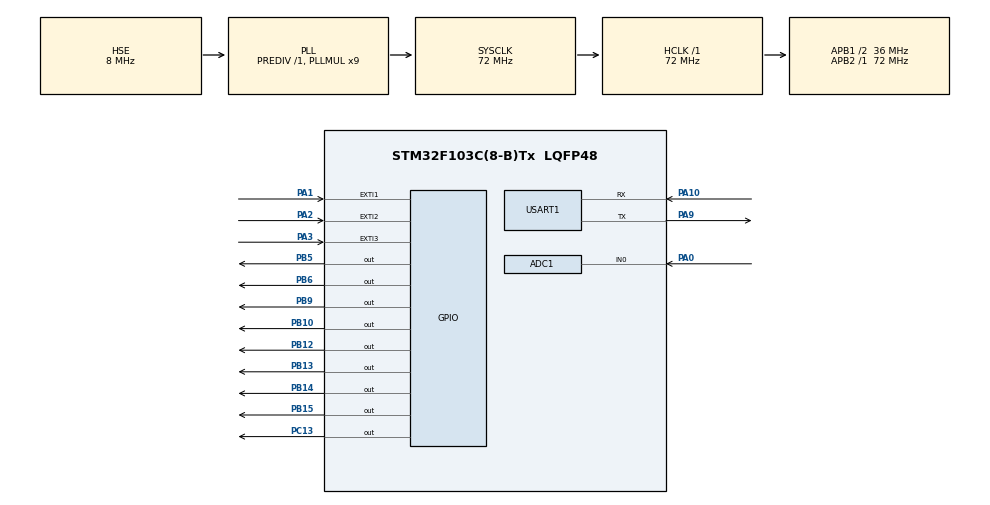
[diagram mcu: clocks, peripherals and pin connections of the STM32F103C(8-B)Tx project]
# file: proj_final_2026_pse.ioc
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ADC1.Channel-0\#ChannelRegularConversion=ADC_CHANNEL_0
ADC1.NbrOfConversionFlag=1
ADC1.Rank-0\#ChannelRegularConversion=1
ADC1.SamplingTime-0\#ChannelRegularConversion=ADC_SAMPLETIME_1CYCLE_5
ADC1.master=1
Dma.Request0=USART1_RX
Dma.Request1=USART1_TX
Dma.USART1_RX.0.Direction=DMA_PERIPH_TO_MEMORY
Dma.USART1_RX.0.Instance=DMA1_Channel5
Dma.USART1_RX.0.MemDataAlignment=DMA_MDATAALIGN_BYTE
Dma.USART1_RX.0.MemInc=DMA_MINC_ENABLE
Dma.USART1_RX.0.Mode=DMA_NORMAL
Dma.USART1_RX.0.PeriphDataAlignment=DMA_PDATAALIGN_BYTE
Dma.USART1_RX.0.PeriphInc=DMA_PINC_DISABLE
Dma.USART1_RX.0.Priority=DMA_PRIORITY_LOW
Dma.USART1_TX.1.Direction=DMA_MEMORY_TO_PERIPH
Dma.USART1_TX.1.Instance=DMA1_Channel4
Dma.USART1_TX.1.MemDataAlignment=DMA_MDATAALIGN_BYTE
Dma.USART1_TX.1.MemInc=DMA_MINC_ENABLE
Dma.USART1_TX.1.Mode=DMA_NORMAL
Dma.USART1_TX.1.PeriphDataAlignment=DMA_PDATAALIGN_BYTE
Dma.USART1_TX.1.PeriphInc=DMA_PINC_DISABLE
Dma.USART1_TX.1.Priority=DMA_PRIORITY_LOW
FREERTOS.Events01=ef_tudo,Dynamic,NULL
FREERTOS.Queues01=q_uart_msgs,15,uint8_t,0,Dynamic,NULL,NULL
FREERTOS.Tasks01=defaultTask,24,64,StartDefaultTask,Default,NULL,Dynamic,NULL,NULL;task_interface,8,256,f_task_interface,Default,NULL,Dynamic,NULL,NULL;task_ping,8,128,f_task_ping,Default,NULL,Dynamic,NULL,NULL;task_send_uart,8,128,f_task_send_uart,Default,NULL,Dynamic,NULL,NULL
FREERTOS.configMINIMAL_STACK_SIZE=64
FREERTOS.configTOTAL_HEAP_SIZE=8192
FREERTOS.configUSE_NEWLIB_REENTRANT=1
FREERTOS.configUSE_TICK_HOOK=1
Mcu.Family=STM32F1
Mcu.Name=STM32F103C(8-B)Tx
Mcu.Package=LQFP48
NVIC.ADC1_2_IRQn=true\:5\:0\:false\:true\:true\:4\:true\:true\:true\:true
NVIC.DMA1_Channel4_IRQn=true\:5\:0\:false\:false\:true\:true\:false\:true\:true
NVIC.DMA1_Channel5_IRQn=true\:5\:0\:false\:false\:true\:true\:false\:true\:true
NVIC.EXTI1_IRQn=true\:5\:0\:false\:true\:true\:3\:false\:true\:true\:true
NVIC.EXTI2_IRQn=true\:5\:0\:false\:true\:true\:2\:false\:true\:true\:true
NVIC.EXTI3_IRQn=true\:5\:0\:false\:true\:true\:1\:false\:true\:true\:true
NVIC.PriorityGroup=NVIC_PRIORITYGROUP_4
NVIC.TIM4_IRQn=true\:15\:0\:false\:false\:true\:false\:false\:true\:true
NVIC.TimeBase=TIM4_IRQn
NVIC.TimeBaseIP=TIM4
NVIC.USART1_IRQn=true\:5\:0\:false\:true\:true\:5\:true\:true\:true\:true
PA0-WKUP.Signal=ADCx_IN0
PA1.GPIO_ModeDefaultEXTI=GPIO_MODE_IT_FALLING
PA1.Signal=GPXTI1
PA10.Mode=Asynchronous
PA10.Signal=USART1_RX
PA13.Mode=Serial_Wire
PA13.Signal=SYS_JTMS-SWDIO
PA14.Mode=Serial_Wire
PA14.Signal=SYS_JTCK-SWCLK
PA2.GPIO_ModeDefaultEXTI=GPIO_MODE_IT_FALLING
PA2.Signal=GPXTI2
PA3.GPIO_ModeDefaultEXTI=GPIO_MODE_IT_FALLING
PA3.Signal=GPXTI3
PA9.Mode=Asynchronous
PA9.Signal=USART1_TX
PB10.Signal=GPIO_Output
PB12.PinState=GPIO_PIN_SET
PB12.Signal=GPIO_Output
PB13.PinState=GPIO_PIN_SET
PB13.Signal=GPIO_Output
PB14.PinState=GPIO_PIN_SET
PB14.Signal=GPIO_Output
PB15.PinState=GPIO_PIN_SET
PB15.Signal=GPIO_Output
PB5.PinState=GPIO_PIN_SET
PB5.Signal=GPIO_Output
PB6.Signal=GPIO_Output
PB9.Signal=GPIO_Output
PC13-TAMPER-RTC.Signal=GPIO_Output
PD0-OSC_IN.Mode=HSE-External-Oscillator
PD0-OSC_IN.Signal=RCC_OSC_IN
PD1-OSC_OUT.Mode=HSE-External-Oscillator
PD1-OSC_OUT.Signal=RCC_OSC_OUT
ProjectManager.HeapSize=0x200
ProjectManager.StackSize=0x400
ProjectManager.TargetToolchain=CMake
RCC.ADCPresc=RCC_ADCPCLK2_DIV6
RCC.AHBFreq_Value=72000000
RCC.APB1CLKDivider=RCC_HCLK_DIV2
RCC.APB1Freq_Value=36000000
RCC.APB1TimFreq_Value=72000000
RCC.APB2Freq_Value=72000000
RCC.APB2TimFreq_Value=72000000
RCC.HCLKFreq_Value=72000000
RCC.PLLMUL=RCC_PLL_MUL9
RCC.PLLSourceVirtual=RCC_PLLSOURCE_HSE
RCC.SYSCLKFreq_VALUE=72000000
RCC.SYSCLKSource=RCC_SYSCLKSOURCE_PLLCLK
RCC.USBFreq_Value=72000000
SH.ADCx_IN0.0=ADC1_IN0,IN0
USART1.VirtualMode=VM_ASYNC
VP_FREERTOS_VS_CMSIS_V2.Mode=CMSIS_V2
VP_SYS_VS_tim4.Mode=TIM4
board=custom

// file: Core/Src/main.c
/* USER CODE BEGIN Header */
/**
 ******************************************************************************
 * @file           : main.c
 * @brief          : Main program body
 ******************************************************************************
 * @attention
 *
 * Copyright (c) 2024 STMicroelectronics.
 * All rights reserved.
 *
 * This software is licensed under terms that can be found in the LICENSE file
 * in the root directory of this software component.
 * If no LICENSE file comes with this software, it is provided AS-IS.
 *
 * notas: J Ranhel - rev 2026.07
 * PA5 =1 na entrada do callBack do RxCpltCallback(), =0 na saída
 * PB7 =1 na entrada do PeriodElapsedCallback(), =0 ma saída
 *
 *
 ******************************************************************************
 */
/* USER CODE END Header */
#include "main.h"

#include "cmsis_os.h"

/* USER CODE BEGIN Includes */
// --- veja includes, macro, e constantes no main.h ---
/* USER CODE END Includes */

/* USER CODE BEGIN PD */
// ---- ver vários #defines (kts, delays, etc) no main.h ----
/* USER CODE END PD */

/* USER CODE BEGIN PM */
//  --- ver macros definidas no main.h ---
/* USER CODE END PM */

ADC_HandleTypeDef hadc1;

UART_HandleTypeDef huart1;
DMA_HandleTypeDef hdma_usart1_rx;
DMA_HandleTypeDef hdma_usart1_tx;

/* Definitions for defaultTask */
osThreadId_t defaultTaskHandle;
const osThreadAttr_t defaultTask_attributes = {
    .name = "defaultTask",
    .stack_size = 64 * 4,
    .priority = (osPriority_t)osPriorityNormal,
};
/* Definitions for task_interface */
osThreadId_t task_interfaceHandle;
const osThreadAttr_t task_interface_attributes = {
    .name = "task_interface",
    .stack_size = 256 * 4,
    .priority = (osPriority_t)osPriorityLow,
};
/* Definitions for task_ping */
osThreadId_t task_pingHandle;
const osThreadAttr_t task_ping_attributes = {
    .name = "task_ping",
    .stack_size = 128 * 4,
    .priority = (osPriority_t)osPriorityLow,
};
/* Definitions for task_send_uart */
osThreadId_t task_send_uartHandle;
const osThreadAttr_t task_send_uart_attributes = {
    .name = "task_send_uart",
    .stack_size = 128 * 4,
    .priority = (osPriority_t)osPriorityLow,
};
/* Definitions for q_uart_msgs */
osMessageQueueId_t q_uart_msgsHandle;
const osMessageQueueAttr_t q_uart_msgs_attributes = {.name = "q_uart_msgs"};
/* Definitions for ef_tudo */
osEventFlagsId_t ef_tudoHandle;
const osEventFlagsAttr_t ef_tudo_attributes = {.name = "ef_tudo"};
/* USER CODE BEGIN PV */
// variáveis que todos vamos usar: buffers de entrada/saída na comunicação
// buffers para entrada e saida de dados via USART
uint8_t BufOUT[] = {'0', '0', '0', '0', '0'};  // inicia buffer OUT com cars "0"
uint8_t BufIN[] = {'0', '0', '0', '0', '0'};   // inicia buffer IN com cars "0"
int8_t DspHex[] = {0x10, 0x10, 0x10, 0x10};    // vetor val display (se=16 => off)
size_t sizeBuffs = sizeof(BufOUT);             // tamanho dos buffers - usa geral
// qual dig liga pto? (ex: 0xA=>1010=> 1000=MSD + 0010=DG2)
uint8_t ptoDec = 0;

// os vetores abaixo tem idx[0] = digito menos significativo no display
int8_t Crono[] = {0, 0, 0, 0};     // vetor com vals decimais do cronometro
int8_t ValAdc[] = {0, 0, 0, 0};    // vetor com vals decimais do ADC
int8_t ExCrono[] = {0, 0, 0, 0};   // vetor com vals decimais do cronometro
int8_t ExValAdc[] = {0, 0, 0, 0};  // vetor com vals decimais do ADC
/* USER CODE END PV */

void SystemClock_Config(void);
static void MX_GPIO_Init(void);
static void MX_DMA_Init(void);
static void MX_ADC1_Init(void);
static void MX_USART1_UART_Init(void);
void StartDefaultTask(void* argument);
void f_task_interface(void* argument);
void f_task_ping(void* argument);
void f_task_send_uart(void* argument);

static void MX_NVIC_Init(void);

int main(void) {

    /* MCU Configuration--------------------------------------------------------*/

    /* Reset of all peripherals, Initializes the Flash interface and the Systick. */
    HAL_Init();

    /* Configure the system clock */
    SystemClock_Config();

    /* Initialize all configured peripherals */
    MX_GPIO_Init();
    MX_DMA_Init();
    MX_ADC1_Init();
    MX_USART1_UART_Init();

    /* Initialize interrupts */
    MX_NVIC_Init();

    /* Init scheduler */
    osKernelInitialize();

    /* Create the queue(s) */
    /* creation of q_uart_msgs */
    q_uart_msgsHandle = osMessageQueueNew(15, sizeof(uint8_t), &q_uart_msgs_attributes);

    /* Create the thread(s) */
    /* creation of defaultTask */
    defaultTaskHandle = osThreadNew(StartDefaultTask, NULL, &defaultTask_attributes);

    /* creation of task_interface */
    task_interfaceHandle = osThreadNew(f_task_interface, NULL, &task_interface_attributes);

    /* creation of task_ping */
    task_pingHandle = osThreadNew(f_task_ping, NULL, &task_ping_attributes);

    /* creation of task_send_uart */
    task_send_uartHandle = osThreadNew(f_task_send_uart, NULL, &task_send_uart_attributes);

    /* Create the event(s) */
    /* creation of ef_tudo */
    ef_tudoHandle = osEventFlagsNew(&ef_tudo_attributes);

    /* USER CODE BEGIN RTOS_EVENTS */
    // Iniciar fl_teste e fl_ping como 1 e o resto como 0
    osEventFlagsSet(ef_tudoHandle, FLAG_MASK_TESTE | FLAG_MASK_PING);
    HAL_UART_Receive_DMA(&huart1, BufIN, sizeBuffs);
    /* USER CODE END RTOS_EVENTS */

    /* Start scheduler */
    osKernelStart();

    /* We should never get here as control is now taken by the scheduler */

    /* Infinite loop */
    while (1) {

    }
}

void SystemClock_Config(void) {
    RCC_OscInitTypeDef RCC_OscInitStruct = {0};
    RCC_ClkInitTypeDef RCC_ClkInitStruct = {0};
    RCC_PeriphCLKInitTypeDef PeriphClkInit = {0};

    /** Initializes the RCC Oscillators according to the specified parameters
     * in the RCC_OscInitTypeDef structure.
     */
    RCC_OscInitStruct.OscillatorType = RCC_OSCILLATORTYPE_HSE;
    RCC_OscInitStruct.HSEState = RCC_HSE_ON;
    RCC_OscInitStruct.HSEPredivValue = RCC_HSE_PREDIV_DIV1;
    RCC_OscInitStruct.HSIState = RCC_HSI_ON;
    RCC_OscInitStruct.PLL.PLLState = RCC_PLL_ON;
    RCC_OscInitStruct.PLL.PLLSource = RCC_PLLSOURCE_HSE;
    RCC_OscInitStruct.PLL.PLLMUL = RCC_PLL_MUL9;
    if (HAL_RCC_OscConfig(&RCC_OscInitStruct) != HAL_OK) {
        Error_Handler();
    }

    /** Initializes the CPU, AHB and APB buses clocks
     */
    RCC_ClkInitStruct.ClockType =
        RCC_CLOCKTYPE_HCLK | RCC_CLOCKTYPE_SYSCLK | RCC_CLOCKTYPE_PCLK1 | RCC_CLOCKTYPE_PCLK2;
    RCC_ClkInitStruct.SYSCLKSource = RCC_SYSCLKSOURCE_PLLCLK;
    RCC_ClkInitStruct.AHBCLKDivider = RCC_SYSCLK_DIV1;
    RCC_ClkInitStruct.APB1CLKDivider = RCC_HCLK_DIV2;
    RCC_ClkInitStruct.APB2CLKDivider = RCC_HCLK_DIV1;

    if (HAL_RCC_ClockConfig(&RCC_ClkInitStruct, FLASH_LATENCY_2) != HAL_OK) {
        Error_Handler();
    }
    PeriphClkInit.PeriphClockSelection = RCC_PERIPHCLK_ADC;
    PeriphClkInit.AdcClockSelection = RCC_ADCPCLK2_DIV6;
    if (HAL_RCCEx_PeriphCLKConfig(&PeriphClkInit) != HAL_OK) {
        Error_Handler();
    }
}

/**
 * @brief NVIC Configuration.
 * @retval None
 */
static void MX_NVIC_Init(void) {
    /* EXTI3_IRQn interrupt configuration */
    HAL_NVIC_SetPriority(EXTI3_IRQn, 5, 0);
    HAL_NVIC_EnableIRQ(EXTI3_IRQn);
    /* EXTI2_IRQn interrupt configuration */
    HAL_NVIC_SetPriority(EXTI2_IRQn, 5, 0);
    HAL_NVIC_EnableIRQ(EXTI2_IRQn);
    /* EXTI1_IRQn interrupt configuration */
    HAL_NVIC_SetPriority(EXTI1_IRQn, 5, 0);
    HAL_NVIC_EnableIRQ(EXTI1_IRQn);
    /* ADC1_2_IRQn interrupt configuration */
    HAL_NVIC_SetPriority(ADC1_2_IRQn, 5, 0);
    HAL_NVIC_EnableIRQ(ADC1_2_IRQn);
    /* USART1_IRQn interrupt configuration */
    HAL_NVIC_SetPriority(USART1_IRQn, 5, 0);
    HAL_NVIC_EnableIRQ(USART1_IRQn);
}

static void MX_ADC1_Init(void) {

    ADC_ChannelConfTypeDef sConfig = {0};

    /** Common config
     */
    hadc1.Instance = ADC1;
    hadc1.Init.ScanConvMode = ADC_SCAN_DISABLE;
    hadc1.Init.ContinuousConvMode = DISABLE;
    hadc1.Init.DiscontinuousConvMode = DISABLE;
    hadc1.Init.ExternalTrigConv = ADC_SOFTWARE_START;
    hadc1.Init.DataAlign = ADC_DATAALIGN_RIGHT;
    hadc1.Init.NbrOfConversion = 1;
    if (HAL_ADC_Init(&hadc1) != HAL_OK) {
        Error_Handler();
    }

    /** Configure Regular Channel
     */
    sConfig.Channel = ADC_CHANNEL_0;
    sConfig.Rank = ADC_REGULAR_RANK_1;
    sConfig.SamplingTime = ADC_SAMPLETIME_1CYCLE_5;
    if (HAL_ADC_ConfigChannel(&hadc1, &sConfig) != HAL_OK) {
        Error_Handler();
    }
}

static void MX_USART1_UART_Init(void) {

    huart1.Instance = USART1;
    huart1.Init.BaudRate = 115200;
    huart1.Init.WordLength = UART_WORDLENGTH_8B;
    huart1.Init.StopBits = UART_STOPBITS_1;
    huart1.Init.Parity = UART_PARITY_NONE;
    huart1.Init.Mode = UART_MODE_TX_RX;
    huart1.Init.HwFlowCtl = UART_HWCONTROL_NONE;
    huart1.Init.OverSampling = UART_OVERSAMPLING_16;
    if (HAL_UART_Init(&huart1) != HAL_OK) {
        Error_Handler();
    }
}

static void MX_DMA_Init(void) {
    /* DMA controller clock enable */
    __HAL_RCC_DMA1_CLK_ENABLE();

    /* DMA interrupt init */
    /* DMA1_Channel4_IRQn interrupt configuration */
    HAL_NVIC_SetPriority(DMA1_Channel4_IRQn, 5, 0);
    HAL_NVIC_EnableIRQ(DMA1_Channel4_IRQn);
    /* DMA1_Channel5_IRQn interrupt configuration */
    HAL_NVIC_SetPriority(DMA1_Channel5_IRQn, 5, 0);
    HAL_NVIC_EnableIRQ(DMA1_Channel5_IRQn);
}

static void MX_GPIO_Init(void) {
    GPIO_InitTypeDef GPIO_InitStruct = {0};

    /* GPIO Ports Clock Enable */
    __HAL_RCC_GPIOC_CLK_ENABLE();
    __HAL_RCC_GPIOD_CLK_ENABLE();
    __HAL_RCC_GPIOA_CLK_ENABLE();
    __HAL_RCC_GPIOB_CLK_ENABLE();

    /*Configure GPIO pin Output Level */
    HAL_GPIO_WritePin(GPIOC, GPIO_PIN_13, GPIO_PIN_RESET);

    /*Configure GPIO pin Output Level */
    HAL_GPIO_WritePin(GPIOB, GPIO_PIN_10 | GPIO_PIN_6 | GPIO_PIN_9, GPIO_PIN_RESET);

    /*Configure GPIO pin Output Level */
    HAL_GPIO_WritePin(GPIOB, GPIO_PIN_12 | GPIO_PIN_13 | GPIO_PIN_14 | GPIO_PIN_15 | GPIO_PIN_5,
                      GPIO_PIN_SET);

    /*Configure GPIO pin : PC13 */
    GPIO_InitStruct.Pin = GPIO_PIN_13;
    GPIO_InitStruct.Mode = GPIO_MODE_OUTPUT_PP;
    GPIO_InitStruct.Pull = GPIO_NOPULL;
    GPIO_InitStruct.Speed = GPIO_SPEED_FREQ_LOW;
    HAL_GPIO_Init(GPIOC, &GPIO_InitStruct);

    /*Configure GPIO pins : PA1 PA2 PA3 */
    GPIO_InitStruct.Pin = GPIO_PIN_1 | GPIO_PIN_2 | GPIO_PIN_3;
    GPIO_InitStruct.Mode = GPIO_MODE_IT_FALLING;
    GPIO_InitStruct.Pull = GPIO_NOPULL;
    HAL_GPIO_Init(GPIOA, &GPIO_InitStruct);

    /*Configure GPIO pins : PB10 PB12 PB13 PB14
                             PB15 PB5 PB6 PB9 */
    GPIO_InitStruct.Pin = GPIO_PIN_10 | GPIO_PIN_12 | GPIO_PIN_13 | GPIO_PIN_14 | GPIO_PIN_15 |
                          GPIO_PIN_5 | GPIO_PIN_6 | GPIO_PIN_9;
    GPIO_InitStruct.Mode = GPIO_MODE_OUTPUT_PP;
    GPIO_InitStruct.Pull = GPIO_NOPULL;
    GPIO_InitStruct.Speed = GPIO_SPEED_FREQ_LOW;
    HAL_GPIO_Init(GPIOB, &GPIO_InitStruct);

}

/* USER CODE BEGIN 4 */
void HAL_UART_ErrorCallback(UART_HandleTypeDef* huart) {
    if (huart->Instance == USART1) {
        // 1. Aborta qualquer recepção bugada que ficou pela metade
        HAL_UART_AbortReceive(huart);

        // 2. Limpa o buffer de entrada para evitar processar lixo
        BufIN[0] = '0';
        BufIN[1] = '0';
        BufIN[2] = '0';
        BufIN[3] = '0';
        BufIN[4] = '0';

        // 3. Reinicia a escuta do DMA limpa e alinhada do zero
        HAL_UART_Receive_DMA(&huart1, BufIN, sizeBuffs);
    }
}

// fn que atende ao callback da ISR do conversor ADC1
void HAL_ADC_ConvCpltCallback(ADC_HandleTypeDef* hadc) {
    uint16_t val_adc = 0;                    // define var para ler ADC
    if (hadc->Instance == ADC1) {            // se veio ADC1
        val_adc = HAL_ADC_GetValue(&hadc1);  // capta valor adc
        // converter o valor lido em valores hexa p/ display
        int miliVolt = val_adc * 3300 / 4095;
        int uniADC = miliVolt / 1000;
        int decADC = (miliVolt - (uniADC * 1000)) / 100;
        int cnsADC = (miliVolt - (uniADC * 1000) - (decADC * 100)) / 10;
        int mlsADC = miliVolt - (uniADC * 1000) - (decADC * 100) - (cnsADC * 10);
        ValAdc[3] = uniADC;  // dig mais significativo
        ValAdc[2] = decADC;
        ValAdc[1] = cnsADC;
        ValAdc[0] = mlsADC;  // dig menos significativo
    }
}

// fn que atende ao callback da ISR quando RECEBE dado pela UART via ISR/DMA
// recebeu:    1 = val extCRN  2 = val extADC  3 = reqCRN
// 4 = reqADC  5 = reqSRV      6 = REQOFF      7 = MSGDND
void HAL_UART_RxCpltCallback(UART_HandleTypeDef* huart) {
    // o que veio na UART1?
    if (huart->Instance == USART1) {
        // Mantem as funções de ping ativas mesmo durante a inicialização
        if (BufIN[4] == '?') {
            SEND_MSG(sndRESPING);
        } else if (BufIN[4] == '!') {
            osEventFlagsSet(ef_tudoHandle, FLAG_MASK_RESPPING);
        } else if (osKernelGetTickCount() > DT_INICIALIZACAO) {
            if (BufIN[0] == 'a') {
                // o que vc vai fazer aqui?
                // se veio um valor iniciado com 'axxxx", veio o valor do ADC
            } else if (BufIN[0] == 'c') {
                // o que vc vai fazer aqui?
                // se veio um valor iniciado com 'cxxxx", veio o valor do CRONO
            } else if (BufIN[2] == 'a') {
                // o que vc vai fazer aqui?
                // se veio "rqadc", o cliente solicitou o dado do ADC
            } else if (BufIN[2] == 's') {
                // o que vc vai fazer aqui?
                // se veio "rqsrv" esta' solicitando p/ placa ATUAR como Server
            } else if (BufIN[2] == 'o') {
                // o que vc vai fazer aqui?
                // se veio "rqoff" esta' solicitando PARAR de atuar como Server
            }
        }
    }
    // redispara a UART para receber dados novamente pelo DMA controller
    HAL_UART_Receive_DMA(&huart1, BufIN, sizeBuffs);
}
/* USER CODE END 4 */

void StartDefaultTask(void* argument) {
    for (;;) {
        osDelay(1);
    }
}

void f_task_interface(void* argument) {
    /* USER CODE BEGIN f_task_interface */
    int8_t DspTeste[] = {8, 8, 8, 8};
    uint8_t ptoTeste = 0x0F;
    /* Infinite loop */
    for (;;) {
        if (GET_FLAG_TESTE(ef_tudoHandle)) {
            HAL_GPIO_WritePin(GPIOB, GPIO_PIN_12 | GPIO_PIN_13 | GPIO_PIN_14 | GPIO_PIN_15,
                              GPIO_PIN_RESET);
            mostrar_no_display(DspTeste, ptoTeste);
        } else {
            HAL_GPIO_WritePin(GPIOB, GPIO_PIN_12 | GPIO_PIN_13 | GPIO_PIN_14 | GPIO_PIN_15,
                              GPIO_PIN_SET);
            mostrar_no_display(DspHex, 0);
        }

        if (GET_FLAG_PING(ef_tudoHandle)) {
            HAL_GPIO_WritePin(GPIOC, GPIO_PIN_13, GPIO_PIN_RESET);
        } else {
            HAL_GPIO_WritePin(GPIOC, GPIO_PIN_13, GPIO_PIN_SET);
        }

        osDelay(DT_MUX_DISP);
    }
    /* USER CODE END f_task_interface */
}

void f_task_ping(void* argument) {
    /* USER CODE BEGIN f_task_ping */

    osDelay(DT_INICIALIZACAO);

    uint8_t fl_esperando_resp = 0;
    uint32_t t_ping = osKernelGetTickCount();

    /* Infinite loop */
    for (;;) {
        uint32_t now = osKernelGetTickCount();
        // Verifica se estourou o tempo de timeout do Ping
        if ((now - t_ping) > DT_PING) {
            if (fl_esperando_resp == 1) {
                // ERRO: O tempo passou e não houve resposta
                // Limpa a flag ping
                osEventFlagsClear(ef_tudoHandle, FLAG_MASK_PING);
                fl_esperando_resp = 0;
            } else {
                // Enviar um novo Ping
                SEND_MSG(sndREQPING);
                fl_esperando_resp = 1;
                t_ping = now;  // Reinicia o cronômetro do ping
            }
        } else {
            // Se ainda está dentro do tempo e estamos esperando a resposta
            if (fl_esperando_resp == 1) {
                // Verifica se a flag resping para ver se houve reposta
                if (GET_FLAG_RESPPING(ef_tudoHandle)) {
                    // (OK) Resposta do ping recebida
                    fl_esperando_resp = 0;

                    // Limpa a flag de resposta
                    osEventFlagsClear(ef_tudoHandle, FLAG_MASK_RESPPING);

                    // Garante que a flag ping esteja ativa sinalizando conexão saudável
                    osEventFlagsSet(ef_tudoHandle, FLAG_MASK_PING);
                }
            }
        }

        osDelay(1);
    }
    /* USER CODE END f_task_ping */
}

void f_task_send_uart(void* argument) {
    /* USER CODE BEGIN f_task_send_uart */
    EvtEnviar msg_rec = sndNADA;
    int8_t adc_crn_local[4] = {0, 0, 0, 0};
    /* Infinite loop */
    for (;;) {
        if (HAL_UART_GetState(&huart1) == HAL_UART_STATE_BUSY_TX) {
            // UART está ocupada transmitindo, então não podemos enviar nada agora
            osDelay(1);
            continue;
        }

        if (osMessageQueueGetCount(q_uart_msgsHandle) == 0) {
            osDelay(1);
            continue;
        }
        msg_rec = sndNADA;

        if (osMessageQueueGet(q_uart_msgsHandle, &msg_rec, NULL, 0) == osOK) {
            switch (msg_rec) {
                case sndREQADC:
                    STR_BUFF(REQADC);
                    break;
                case sndREQSRV:
                    STR_BUFF(REQSRV);
                    break;
                case sndREQOFF:
                    STR_BUFF(REQOFF);
                    break;
                case sndMSGNSV:
                    STR_BUFF(MSGNSV);
                    break;
                case sndREQPING:
                    STR_BUFF(PNGPRG);
                    break;
                case sndRESPING:
                    STR_BUFF(PNGRSP);
                    break;

                case sndREQCRN:
                    STR_BUFF(REQCRN);
                    break;

                case sndADC:
                    taskENTER_CRITICAL();
                    adc_crn_local[0] = ValAdc[0];
                    adc_crn_local[1] = ValAdc[1];
                    adc_crn_local[2] = ValAdc[2];
                    adc_crn_local[3] = ValAdc[3];
                    taskEXIT_CRITICAL();
                    BufOUT[0] = 'a';
                    BufOUT[1] = conv_num_ASC(adc_crn_local[3]);  // min
                    BufOUT[2] = conv_num_ASC(adc_crn_local[2]);  // seg
                    BufOUT[3] = conv_num_ASC(adc_crn_local[1]);  // seg(unidade)
                    BufOUT[4] = conv_num_ASC(adc_crn_local[0]);  // decimos
                    break;

                case sndCRN:
                    taskENTER_CRITICAL();
                    adc_crn_local[0] = Crono[0];
                    adc_crn_local[1] = Crono[1];
                    adc_crn_local[2] = Crono[2];
                    adc_crn_local[3] = Crono[3];
                    taskEXIT_CRITICAL();
                    BufOUT[0] = 'c';
                    BufOUT[1] = conv_num_ASC(adc_crn_local[3]);  // min
                    BufOUT[2] = conv_num_ASC(adc_crn_local[2]);  // seg
                    BufOUT[3] = conv_num_ASC(adc_crn_local[1]);  // seg(unidade)
                    BufOUT[4] = conv_num_ASC(adc_crn_local[0]);  // decimos

                    break;

                case sndNADA:
                    break;
            }

            HAL_UART_Transmit_DMA(&huart1, BufOUT, sizeBuffs);
        }

        osDelay(1);
    }
    /* USER CODE END f_task_send_uart */
}

void HAL_TIM_PeriodElapsedCallback(TIM_HandleTypeDef* htim) {
    /* USER CODE BEGIN Callback 0 */
    uint16_t static contaCRN = 0;  // conta num vezes até DT-CRONO
    uint16_t static contaADC = 0;  // conta num vezes até DT-CRONO

    /* USER CODE END Callback 0 */
    if (htim->Instance == TIM4) {
        HAL_IncTick();
    }
    /* USER CODE BEGIN Callback 1 */
    // CRONOMETRO UP/DOWN: teste se já passou DT_CRONO ms
    if (contaCRN >= DT_CRONO) {
        contaCRN = 0;                        // retorna conta para zero
        if (MD_CRONO == 0) {                 // MD_CRONO = 0 incrementa o cronômetro
            ++Crono[0];                      // inc decimo seg (dígito menos signif)
            if (Crono[0] > 9) {              // se > 9
                Crono[0] = 0;                // volta p/ zero
                ++Crono[1];                  // inc unidade de segundo
                if (Crono[1] > 9) {          // se > 9
                    Crono[1] = 0;            // volta p/ zero
                    ++Crono[2];              // inc dezena de segundos
                    if (Crono[2] > 5) {      // se > 5
                        Crono[2] = 0;        // volta p/ zero
                        ++Crono[3];          // inc minutos  (dígito mais signif)
                        if (Crono[3] > 9) {  // se > 9
                            Crono[3] = 0;    // volta p/ zero
                        }
                    }
                }
            }
        } else {                             // MD_CRONO = 1 decrementa o cronômetro
            --Crono[0];                      // dec decimo de segundos
            if (Crono[0] < 0) {              // se < 0
                Crono[0] = 9;                // volta p/ 9
                --Crono[1];                  // dec unidade de segundo
                if (Crono[1] < 0) {          // se < 0
                    Crono[1] = 9;            // volta p/ 9
                    --Crono[2];              // dec dezena de segundos
                    if (Crono[2] < 0) {      // se < 0
                        Crono[2] = 5;        // volta p/ 5
                        --Crono[3];          // dec minutos
                        if (Crono[3] < 0) {  // se < 0
                            Crono[3] = 9;    // volta p/ 9
                        }
                    }
                }
            }
        }
    } else {
        ++contaCRN;
    }  // se nao muda crono, so' inc contaCRN

    // se passou o tempo para disparar o ADC, disparar
    if (contaADC >= DT_ADC) {      // contou DT_ADC ms?
        contaADC = 0;              // retorna conta para zero
        HAL_ADC_Start_IT(&hadc1);  // dispara ADC p/ conversão por IRQ
    } else {
        ++contaADC;
    }  // se nao muda crono, so' inc contaADC
    /* USER CODE END Callback 1 */
}

void Error_Handler(void) {
    __disable_irq();
    while (1) {
    }
}

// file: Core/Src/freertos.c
/* USER CODE BEGIN Header */
/**
  ******************************************************************************
  * File Name          : freertos.c
  * Description        : Code for freertos applications
  ******************************************************************************
  * @attention
  *
  * Copyright (c) 2026 STMicroelectronics.
  * All rights reserved.
  *
  * This software is licensed under terms that can be found in the LICENSE file
  * in the root directory of this software component.
  * If no LICENSE file comes with this software, it is provided AS-IS.
  *
  ******************************************************************************
  */
/* USER CODE END Header */

#include "FreeRTOS.h"
#include "task.h"
#include "main.h"

/* Hook prototypes */
void vApplicationTickHook(void);

/* USER CODE BEGIN 3 */
void vApplicationTickHook( void )
{
   /* This function will be called by each tick interrupt if
   configUSE_TICK_HOOK is set to 1 in FreeRTOSConfig.h. User code can be
   added here, but the tick hook is called from an interrupt context, so
   code must not attempt to block, and only the interrupt safe FreeRTOS API
   functions can be used (those that end in FromISR()). */
}
/* USER CODE END 3 */
